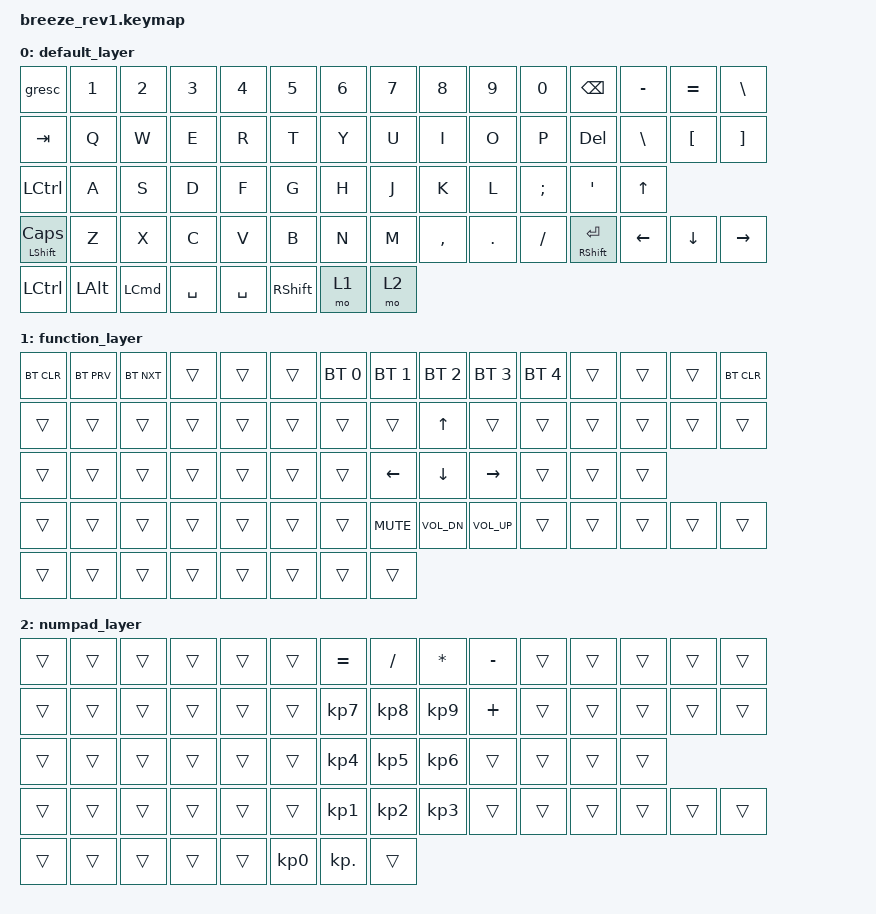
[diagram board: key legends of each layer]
/*
 * Copyright (c) 2022 The ZMK Contributors
 *
 * SPDX-License-Identifier: MIT
 */

#include <behaviors.dtsi>
#include <dt-bindings/zmk/bt.h>
#include <dt-bindings/zmk/keys.h>

/ {
    keymap {
        compatible = "zmk,keymap";

        default_layer {
            // Ref: https://zmkfirmware.dev/docs/codes/
            // ---  MAIN  -----------------------------------------------------------------------------------------------------------------------
            // |    ESC    |     1     |     2     |     3      |      4      |      5     |                           |      6      |      7     |      8      |      9     |     0    |    BSPC    | |    -/_    |     =/+     |    GRAVE    |
            // |    TAB    |     Q     |     W     |     E      |      R      |      T     |                           |      Y      |      U     |      I      |      O     |     P    |    DEL     | |     \     |      [      |      ]      |
            // |   LCTRL   |     A     |     S     |     D      |      F      |      G     |                           |      H      |      J     |      K      |      L     |     ;    |     '      | |           |      UP     |             |
            // |   SHIFT   |     Z     |     X     |     C      |      V      |      B     |                           |      N      |      M     |      ,      |      .     |     /    |   RSHIFT   | |     L     |      DN     |      R      |
            //                                     |   NUMPAD   |     LALT    |    LCMD    |   SPACE    |  |   ENTER   |   FUNCTION  |  MACOS APP |  MACOS LANG |

            bindings = <
&gresc          &kp N1    &kp NUMBER_2  &kp N3     &kp N4     &kp N5           &kp N6  &kp N7  &kp N8     &kp N9   &kp N0    &kp BSPC                &kp MINUS  &kp EQUAL  &kp BSLH
&kp TAB         &kp Q     &kp W         &kp E      &kp R      &kp T            &kp Y   &kp U   &kp I      &kp O    &kp P     &kp DEL                 &kp BSLH   &kp LBKT   &kp RBKT
&kp LCTRL       &kp A     &kp S         &kp D      &kp F      &kp G            &kp H   &kp J   &kp K      &kp L    &kp SEMI  &kp APOS                &kp UP
&mt LSHFT CAPS  &kp Z     &kp X         &kp C      &kp V      &kp B            &kp N   &kp M   &kp COMMA  &kp DOT  &kp FSLH  &mt RIGHT_SHIFT RETURN  &kp LEFT   &kp DOWN   &kp RIGHT
&kp LCTRL       &kp LALT  &kp LCMD      &kp SPACE  &kp SPACE  &kp RIGHT_SHIFT  &mo 1   &mo 2
            >;
        };

        function_layer {
            // ---  FUNCTION  -------------------------------------------------------------------------------------------------------------------
            // | BT Clear  |  BT Prev  |  BT Next  |            |             |            |                           |             |            |             |            |          |            | |           |             |             |
            // |           |           |           |            |             |            |                           |             |            |     UP      |            |          |            | |           |             |             |
            // |           |           |           |            |             |            |                           |             |    LEFT    |    DOWN     |   RIGHT    |          |            | |           |             |             |
            // |           |           |           |            |             |            |                           |             |    MUTE    |  VOL DOWN   |   VOL UP   |          |            | |           |             |             |
            //                                     |            |             |            |            |  |           |             |            |             |

            bindings = <
&bt BT_CLR  &bt BT_PRV  &bt BT_NXT  &trans  &trans  &trans  &bt BT_SEL 0  &bt BT_SEL 1  &bt BT_SEL 2  &bt BT_SEL 3  &bt BT_SEL 4  &trans  &trans  &trans  &bt BT_CLR
&trans      &trans      &trans      &trans  &trans  &trans  &trans        &trans        &kp UP        &trans        &trans        &trans  &trans  &trans  &trans
&trans      &trans      &trans      &trans  &trans  &trans  &trans        &kp LEFT      &kp DOWN      &kp RIGHT     &trans        &trans  &trans
&trans      &trans      &trans      &trans  &trans  &trans  &trans        &kp C_MUTE    &kp C_VOL_DN  &kp C_VOL_UP  &trans        &trans  &trans  &trans  &trans
&trans      &trans      &trans      &trans  &trans  &trans  &trans        &trans
            >;
        };

        numpad_layer {
            // ---  NUMPAD  -------------------------------------------------------------------------------------------------------------------
            // |           |           |           |            |             |            |                           |       =       |      /       |      *       |      -     |          |            | |           |             |             |
            // |           |           |           |            |             |            |                           |       7       |      8       |      9       |      +     |          |            | |           |             |             |
            // |           |           |           |            |             |            |                           |       4       |      5       |      6       |            |          |            | |           |             |             |
            // |           |           |           |            |             |            |                           |       1       |      2       |      3       |            |          |            | |           |             |             |
            //                                     |            |             |            |            |  |           |       0       |      .       |              |

            bindings = <
&trans  &trans  &trans  &trans  &trans  &trans           &kp EQUAL        &kp SLASH        &kp STAR         &kp MINUS  &trans  &trans  &trans  &trans  &trans
&trans  &trans  &trans  &trans  &trans  &trans           &kp KP_NUMBER_7  &kp KP_NUMBER_8  &kp KP_NUMBER_9  &kp PLUS   &trans  &trans  &trans  &trans  &trans
&trans  &trans  &trans  &trans  &trans  &trans           &kp KP_NUMBER_4  &kp KP_NUMBER_5  &kp KP_NUMBER_6  &trans     &trans  &trans  &trans
&trans  &trans  &trans  &trans  &trans  &trans           &kp KP_NUMBER_1  &kp KP_NUMBER_2  &kp KP_NUMBER_3  &trans     &trans  &trans  &trans  &trans  &trans
&trans  &trans  &trans  &trans  &trans  &kp KP_NUMBER_0  &kp KP_DOT       &trans
            >;
        };
    };
};
